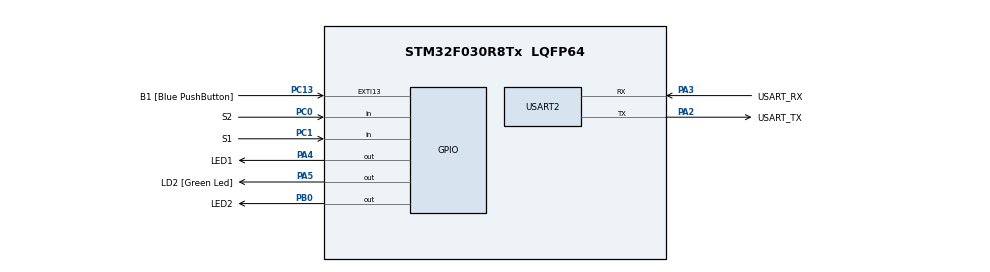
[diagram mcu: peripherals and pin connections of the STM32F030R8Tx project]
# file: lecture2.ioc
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Mcu.Family=STM32F0
Mcu.Name=STM32F030R8Tx
Mcu.Package=LQFP64
PA13.GPIO_Label=TMS
PA13.Mode=Serial_Wire
PA13.Signal=SYS_SWDIO
PA14.GPIO_Label=TCK
PA14.Mode=Serial_Wire
PA14.Signal=SYS_SWCLK
PA2.GPIO_Label=USART_TX
PA2.GPIO_Mode=GPIO_MODE_AF_PP
PA2.GPIO_PuPd=GPIO_NOPULL
PA2.GPIO_Speed=GPIO_SPEED_FREQ_LOW
PA2.Mode=Asynchronous
PA2.Signal=USART2_TX
PA3.GPIO_Label=USART_RX
PA3.GPIO_Mode=GPIO_MODE_AF_PP
PA3.GPIO_PuPd=GPIO_NOPULL
PA3.GPIO_Speed=GPIO_SPEED_FREQ_LOW
PA3.Mode=Asynchronous
PA3.Signal=USART2_RX
PA4.GPIO_Label=LED1
PA4.Signal=GPIO_Output
PA5.GPIO_Label=LD2 [Green Led]
PA5.GPIO_Mode=GPIO_MODE_OUTPUT_PP
PA5.GPIO_PuPd=GPIO_NOPULL
PA5.GPIO_Speed=GPIO_SPEED_FREQ_LOW
PA5.Signal=GPIO_Output
PB0.GPIO_Label=LED2
PB0.Signal=GPIO_Output
PC0.GPIO_Label=S2
PC0.GPIO_PuPd=GPIO_PULLUP
PC0.Signal=GPIO_Input
PC1.GPIO_Label=S1
PC1.GPIO_PuPd=GPIO_PULLUP
PC1.Signal=GPIO_Input
PC13.GPIO_Label=B1 [Blue PushButton]
PC13.GPIO_ModeDefaultEXTI=GPIO_MODE_IT_FALLING
PC13.Signal=GPXTI13
PC14-OSC32_IN.Mode=LSE-External-Oscillator
PC14-OSC32_IN.Signal=RCC_OSC32_IN
PC15-OSC32_OUT.Mode=LSE-External-Oscillator
PC15-OSC32_OUT.Signal=RCC_OSC32_OUT
PF0-OSC_IN.Mode=HSE-External-Clock-Source
PF0-OSC_IN.Signal=RCC_OSC_IN
PF1-OSC_OUT.Signal=RCC_OSC_OUT
ProjectManager.HeapSize=0x200
ProjectManager.StackSize=0x400
ProjectManager.TargetToolchain=STM32CubeIDE
RCC.AHBFreq_Value=48000000
RCC.APB1Freq_Value=48000000
RCC.APB1TimFreq_Value=48000000
RCC.HCLKFreq_Value=48000000
RCC.PLLMUL=RCC_PLL_MUL12
RCC.SYSCLKFreq_VALUE=48000000
RCC.SYSCLKSource=RCC_SYSCLKSOURCE_PLLCLK
USART2.VirtualMode-Asynchronous=VM_ASYNC
board=NUCLEO-F030R8

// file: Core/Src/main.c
/* USER CODE BEGIN Header */
/**
 ******************************************************************************
 * @file           : main.c
 * @brief          : Main program body
 ******************************************************************************
 * @attention
 *
 * Copyright (c) 2024 STMicroelectronics.
 * All rights reserved.
 *
 * This software is licensed under terms that can be found in the LICENSE file
 * in the root directory of this software component.
 * If no LICENSE file comes with this software, it is provided AS-IS.
 *
 ******************************************************************************
 */
/* USER CODE END Header */
#include "main.h"

/* USER CODE BEGIN PD */
#define BLINK_TIME 		300
#define BOTTON1_TIME 	300
#define LED_TIME_SHORT 	100
#define BOTTON2_TIME 	300
#define LED_TIME_SHORT1 1000
#define LED_LONG_TIME   1000
#define DEBOUNCE_TIME 	5

/* USER CODE END PD */

/* USER CODE BEGIN PV */
volatile uint32_t tick;
static uint32_t off_time;

/* USER CODE END PV */

void SystemClock_Config(void);
static void MX_GPIO_Init(void);
static void MX_USART2_UART_Init(void);

/* USER CODE BEGIN 0 */

static void blink() {

	static uint32_t last_blink_tick;

	if(tick > last_blink_tick + BLINK_TIME){
		last_blink_tick = tick;

		//kazdych 300 ms
		LL_GPIO_TogglePin(LED1_GPIO_Port, LED1_Pin); //prepne stav mezi high a low

	}

}

static void botton1() {

	static uint32_t last_botton_tick;

	//vzorkovani tlacitka kazdych botton1_time
	if(tick > last_botton_tick + BOTTON1_TIME){
		last_botton_tick = tick; // Aktualizace casu posledniho vzorkovani
		//kazdych 40 ms
		static uint32_t old_s2;
		// Nacteni aktualniho stavu tlacitka S2
		uint32_t new_s2 = LL_GPIO_IsInputPinSet(S2_GPIO_Port, S2_Pin);

		if (old_s2 && !new_s2) { // falling edge
			off_time = tick + LED_TIME_SHORT; //cas sviceni led
			LL_GPIO_SetOutputPin(LED2_GPIO_Port, LED2_Pin);
		}
		old_s2 = new_s2; //ulozeni aktualniho stavu tlacitka

	}

	//zhasinani led po case off_time
	if (tick > off_time) {
			LL_GPIO_ResetOutputPin(LED2_GPIO_Port, LED2_Pin);
		}
}

static void botton2() {

	static uint32_t last_botton_tick2;

	//vzorkovani tlacitka
	if(tick > last_botton_tick2 + BOTTON2_TIME){
		last_botton_tick2 = tick;

		//kazdych 40 ms
		static uint32_t old_s1;
		uint32_t new_s1 = LL_GPIO_IsInputPinSet(S1_GPIO_Port, S1_Pin);

		if (old_s1 && !new_s1) { // falling edge
			off_time = tick + LED_TIME_SHORT1;
			LL_GPIO_SetOutputPin(LED2_GPIO_Port, LED2_Pin);
		}
		old_s1 = new_s1;

	}

	//zhasinani led
	if (tick > off_time) {
			LL_GPIO_ResetOutputPin(LED2_GPIO_Port, LED2_Pin);
		}
}

static void Reg(){
	static uint32_t last_debounce_tick;
	static uint32_t off_time;

	if(tick > last_debounce_tick + DEBOUNCE_TIME){
		last_debounce_tick = tick;
		static uint16_t debounce = 0xFFFF;

		debounce <<=1; //bitovy posun o jeden bit doleva
		if (LL_GPIO_IsInputPinSet(S2_GPIO_Port, S2_Pin)){
			debounce |= 0x0001; //nastaveni bitu 0 na 1
		}

		// Kontrola, zda je splnena podminka pro sestupnou hranu (prvni stisk)
		if(debounce == 0x8000){
			off_time =tick+LED_LONG_TIME;
			LL_GPIO_SetOutputPin(LED2_GPIO_Port, LED2_Pin);
		}
		if (tick > off_time) {
			LL_GPIO_ResetOutputPin(LED2_GPIO_Port, LED2_Pin);
		}
	}
}

/* USER CODE END 0 */

int main(void)
{

  /* MCU Configuration--------------------------------------------------------*/

  /* Reset of all peripherals, Initializes the Flash interface and the Systick. */
  LL_APB1_GRP2_EnableClock(LL_APB1_GRP2_PERIPH_SYSCFG);
  LL_APB1_GRP1_EnableClock(LL_APB1_GRP1_PERIPH_PWR);

  /* Configure the system clock */
  SystemClock_Config();

  /* Initialize all configured peripherals */
  MX_GPIO_Init();
  MX_USART2_UART_Init();
  /* USER CODE BEGIN 2 */
	LL_SYSTICK_EnableIT();
  /* USER CODE END 2 */

  /* Infinite loop */
  /* USER CODE BEGIN WHILE */
	while (1)
	{
		blink();

		//botton1();

		//botton2();

		Reg();
    /* USER CODE END WHILE */

	}
}

void SystemClock_Config(void)
{
  LL_FLASH_SetLatency(LL_FLASH_LATENCY_1);
  while(LL_FLASH_GetLatency() != LL_FLASH_LATENCY_1)
  {
  }
  LL_RCC_HSI_Enable();

   /* Wait till HSI is ready */
  while(LL_RCC_HSI_IsReady() != 1)
  {

  }
  LL_RCC_HSI_SetCalibTrimming(16);
  LL_RCC_PLL_ConfigDomain_SYS(LL_RCC_PLLSOURCE_HSI_DIV_2, LL_RCC_PLL_MUL_12);
  LL_RCC_PLL_Enable();

   /* Wait till PLL is ready */
  while(LL_RCC_PLL_IsReady() != 1)
  {

  }
  LL_RCC_SetAHBPrescaler(LL_RCC_SYSCLK_DIV_1);
  LL_RCC_SetAPB1Prescaler(LL_RCC_APB1_DIV_1);
  LL_RCC_SetSysClkSource(LL_RCC_SYS_CLKSOURCE_PLL);

   /* Wait till System clock is ready */
  while(LL_RCC_GetSysClkSource() != LL_RCC_SYS_CLKSOURCE_STATUS_PLL)
  {

  }
  LL_Init1msTick(48000000);
  LL_SetSystemCoreClock(48000000);
}

static void MX_USART2_UART_Init(void)
{

  LL_USART_InitTypeDef USART_InitStruct = {0};

  LL_GPIO_InitTypeDef GPIO_InitStruct = {0};

  /* Peripheral clock enable */
  LL_APB1_GRP1_EnableClock(LL_APB1_GRP1_PERIPH_USART2);

  LL_AHB1_GRP1_EnableClock(LL_AHB1_GRP1_PERIPH_GPIOA);
  /**USART2 GPIO Configuration
  PA2   ------> USART2_TX
  PA3   ------> USART2_RX
  */
  GPIO_InitStruct.Pin = USART_TX_Pin;
  GPIO_InitStruct.Mode = LL_GPIO_MODE_ALTERNATE;
  GPIO_InitStruct.Speed = LL_GPIO_SPEED_FREQ_LOW;
  GPIO_InitStruct.OutputType = LL_GPIO_OUTPUT_PUSHPULL;
  GPIO_InitStruct.Pull = LL_GPIO_PULL_NO;
  GPIO_InitStruct.Alternate = LL_GPIO_AF_1;
  LL_GPIO_Init(USART_TX_GPIO_Port, &GPIO_InitStruct);

  GPIO_InitStruct.Pin = USART_RX_Pin;
  GPIO_InitStruct.Mode = LL_GPIO_MODE_ALTERNATE;
  GPIO_InitStruct.Speed = LL_GPIO_SPEED_FREQ_LOW;
  GPIO_InitStruct.OutputType = LL_GPIO_OUTPUT_PUSHPULL;
  GPIO_InitStruct.Pull = LL_GPIO_PULL_NO;
  GPIO_InitStruct.Alternate = LL_GPIO_AF_1;
  LL_GPIO_Init(USART_RX_GPIO_Port, &GPIO_InitStruct);

  USART_InitStruct.BaudRate = 38400;
  USART_InitStruct.DataWidth = LL_USART_DATAWIDTH_8B;
  USART_InitStruct.StopBits = LL_USART_STOPBITS_1;
  USART_InitStruct.Parity = LL_USART_PARITY_NONE;
  USART_InitStruct.TransferDirection = LL_USART_DIRECTION_TX_RX;
  USART_InitStruct.HardwareFlowControl = LL_USART_HWCONTROL_NONE;
  USART_InitStruct.OverSampling = LL_USART_OVERSAMPLING_16;
  LL_USART_Init(USART2, &USART_InitStruct);
  LL_USART_DisableIT_CTS(USART2);
  LL_USART_ConfigAsyncMode(USART2);
  LL_USART_Enable(USART2);

}

static void MX_GPIO_Init(void)
{
  LL_EXTI_InitTypeDef EXTI_InitStruct = {0};
  LL_GPIO_InitTypeDef GPIO_InitStruct = {0};

  /* GPIO Ports Clock Enable */
  LL_AHB1_GRP1_EnableClock(LL_AHB1_GRP1_PERIPH_GPIOC);
  LL_AHB1_GRP1_EnableClock(LL_AHB1_GRP1_PERIPH_GPIOF);
  LL_AHB1_GRP1_EnableClock(LL_AHB1_GRP1_PERIPH_GPIOA);
  LL_AHB1_GRP1_EnableClock(LL_AHB1_GRP1_PERIPH_GPIOB);

  /**/
  LL_GPIO_ResetOutputPin(LED1_GPIO_Port, LED1_Pin);

  /**/
  LL_GPIO_ResetOutputPin(LD2_GPIO_Port, LD2_Pin);

  /**/
  LL_GPIO_ResetOutputPin(LED2_GPIO_Port, LED2_Pin);

  /**/
  LL_SYSCFG_SetEXTISource(LL_SYSCFG_EXTI_PORTC, LL_SYSCFG_EXTI_LINE13);

  /**/
  LL_GPIO_SetPinPull(B1_GPIO_Port, B1_Pin, LL_GPIO_PULL_NO);

  /**/
  LL_GPIO_SetPinMode(B1_GPIO_Port, B1_Pin, LL_GPIO_MODE_INPUT);

  /**/
  EXTI_InitStruct.Line_0_31 = LL_EXTI_LINE_13;
  EXTI_InitStruct.LineCommand = ENABLE;
  EXTI_InitStruct.Mode = LL_EXTI_MODE_IT;
  EXTI_InitStruct.Trigger = LL_EXTI_TRIGGER_FALLING;
  LL_EXTI_Init(&EXTI_InitStruct);

  /**/
  GPIO_InitStruct.Pin = S2_Pin;
  GPIO_InitStruct.Mode = LL_GPIO_MODE_INPUT;
  GPIO_InitStruct.Pull = LL_GPIO_PULL_UP;
  LL_GPIO_Init(S2_GPIO_Port, &GPIO_InitStruct);

  /**/
  GPIO_InitStruct.Pin = S1_Pin;
  GPIO_InitStruct.Mode = LL_GPIO_MODE_INPUT;
  GPIO_InitStruct.Pull = LL_GPIO_PULL_UP;
  LL_GPIO_Init(S1_GPIO_Port, &GPIO_InitStruct);

  /**/
  GPIO_InitStruct.Pin = LED1_Pin;
  GPIO_InitStruct.Mode = LL_GPIO_MODE_OUTPUT;
  GPIO_InitStruct.Speed = LL_GPIO_SPEED_FREQ_LOW;
  GPIO_InitStruct.OutputType = LL_GPIO_OUTPUT_PUSHPULL;
  GPIO_InitStruct.Pull = LL_GPIO_PULL_NO;
  LL_GPIO_Init(LED1_GPIO_Port, &GPIO_InitStruct);

  /**/
  GPIO_InitStruct.Pin = LD2_Pin;
  GPIO_InitStruct.Mode = LL_GPIO_MODE_OUTPUT;
  GPIO_InitStruct.Speed = LL_GPIO_SPEED_FREQ_LOW;
  GPIO_InitStruct.OutputType = LL_GPIO_OUTPUT_PUSHPULL;
  GPIO_InitStruct.Pull = LL_GPIO_PULL_NO;
  LL_GPIO_Init(LD2_GPIO_Port, &GPIO_InitStruct);

  /**/
  GPIO_InitStruct.Pin = LED2_Pin;
  GPIO_InitStruct.Mode = LL_GPIO_MODE_OUTPUT;
  GPIO_InitStruct.Speed = LL_GPIO_SPEED_FREQ_LOW;
  GPIO_InitStruct.OutputType = LL_GPIO_OUTPUT_PUSHPULL;
  GPIO_InitStruct.Pull = LL_GPIO_PULL_NO;
  LL_GPIO_Init(LED2_GPIO_Port, &GPIO_InitStruct);

}

void Error_Handler(void)
{
	__disable_irq();
	while (1)
	{
	}
}
